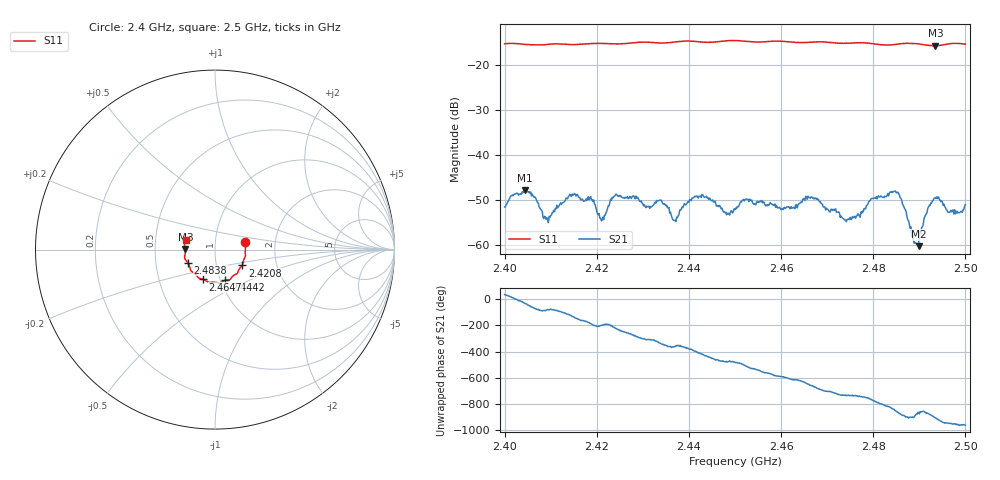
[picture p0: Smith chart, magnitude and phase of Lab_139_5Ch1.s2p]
# Hz S RI R 50
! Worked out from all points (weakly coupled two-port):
!   601 points, 2.4 GHz to 2.5 GHz, reference 50 ohm
!   highest |S21| = -47.73 dB at 2.4043 GHz (marker M1); lowest = -60.2 dB at 2.4898 GHz (marker M2)
!   lowest |S11| = -15.6 dB at 2.4935 GHz (marker M3), VSWR 1.40, Z = 35.8 + j0.195 ohm
!   |S11| at or under -10 dB: start of sweep to end of sweep
!   S12 and S22 are empty: the file has one direction only
!   S11 on the Smith chart (normalised r, x): 2.4 GHz: 1.40, +0.12; 2.4208 GHz: 1.33, -0.24; 2.4442 GHz: 1.05, -0.37; 2.4647 GHz: 0.83, -0.28; 2.4838 GHz: 0.73, -0.11; 2.5 GHz: 0.72, +0.08
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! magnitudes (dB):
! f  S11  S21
! 2.4 GHz  -15.2  -51.5
! 2.4043 GHz  -15.3  -47.7
! 2.409 GHz  -15.4  -54.2
! 2.4143 GHz  -15.4  -48.9
! 2.4167 GHz  -15.3  -49.9
! 2.4208 GHz  -15.1  -54.0
! 2.424 GHz  -15.2  -48.9
! 2.4333 GHz  -15.0  -50.1
! 2.437 GHz  -14.8  -54.5
! 2.4412 GHz  -14.7  -49.2
! 2.4442 GHz  -14.9  -49.5
! 2.45 GHz  -14.5  -52.1
! 2.4647 GHz  -14.9  -49.9
! 2.4667 GHz  -14.8  -49.3
! 2.4743 GHz  -15.1  -54.3
! 2.4833 GHz  -15.5  -49.0
! 2.4838 GHz  -15.5  -48.2
! 2.4857 GHz  -15.2  -48.8
! 2.4888 GHz  -15.1  -59.5
! 2.4898 GHz  -15.2  -60.2
! 2.4935 GHz  -15.6  -49.4
! 2.5 GHz  -15.3  -50.9
